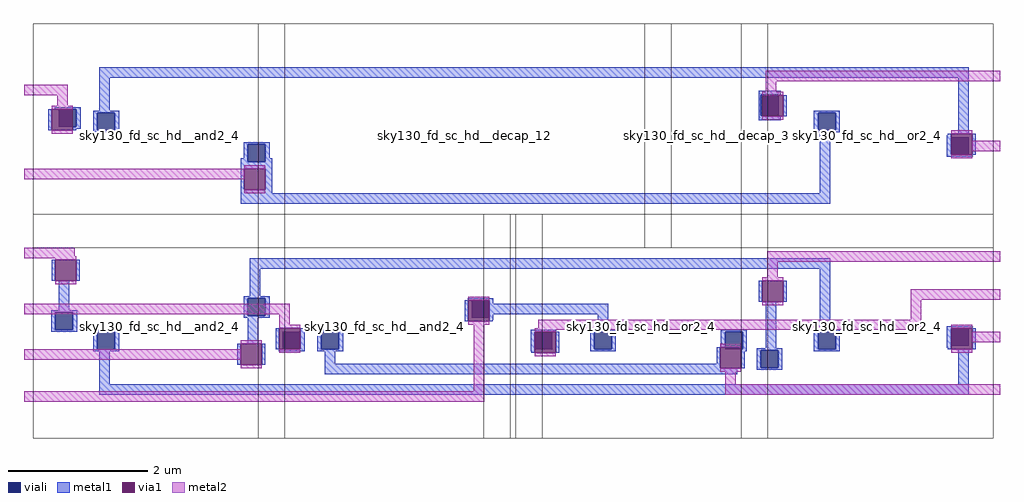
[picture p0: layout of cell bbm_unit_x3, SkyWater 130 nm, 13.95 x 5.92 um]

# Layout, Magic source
magic
tech sky130A
magscale 1 2
<< viali >>
rect -1400 870 -1350 920
rect -1290 860 -1240 910
rect 606 901 657 961
rect 770 860 820 910
rect -860 770 -810 820
rect 1150 790 1200 840
rect -1410 290 -1360 340
rect -860 330 -810 380
rect -220 324 -170 374
rect -1290 234 -1240 284
rect -760 234 -710 284
rect -650 234 -600 284
rect -40 234 10 284
rect 130 234 180 284
rect 504 234 554 284
rect 770 234 820 284
rect 1150 244 1200 294
rect 606 181 656 231
<< metal1 >>
rect -1285 1010 1200 1040
rect -1412 920 -1338 926
rect -1430 860 -1420 920
rect -1350 870 -1338 920
rect -1285 916 -1255 1010
rect 600 961 663 973
rect -1360 864 -1338 870
rect -1302 910 -1228 916
rect -1360 860 -1350 864
rect -1302 860 -1290 910
rect -1240 860 -1228 910
rect 600 901 606 961
rect 657 960 663 961
rect 600 900 610 901
rect 670 900 680 960
rect 758 910 832 916
rect 600 889 663 900
rect -1302 854 -1228 860
rect 758 860 770 910
rect 820 860 832 910
rect 758 854 832 860
rect -872 820 -798 826
rect -872 780 -860 820
rect -880 770 -860 780
rect -810 780 -798 820
rect -810 770 -790 780
rect -880 750 -790 770
rect -880 690 -870 750
rect -810 690 -790 750
rect -880 680 -790 690
rect 775 680 805 854
rect 1170 850 1200 1010
rect 1140 846 1150 850
rect 1138 790 1150 846
rect 1210 790 1220 850
rect 1138 784 1212 790
rect -880 650 805 680
rect -1420 430 -1410 490
rect -1350 430 -1340 490
rect -855 464 805 494
rect -1400 346 -1370 430
rect -855 386 -825 464
rect -872 380 -798 386
rect -1422 340 -1348 346
rect -1422 290 -1410 340
rect -1360 290 -1348 340
rect -872 330 -860 380
rect -810 330 -798 380
rect -232 374 -158 380
rect -872 324 -798 330
rect -1422 284 -1348 290
rect -1302 284 -1228 290
rect -1302 234 -1290 284
rect -1240 234 -1228 284
rect -860 250 -830 324
rect -240 314 -230 374
rect -170 364 -158 374
rect 600 370 610 430
rect 670 370 680 430
rect -170 334 170 364
rect -170 318 -158 334
rect -170 314 -160 318
rect -1302 228 -1228 234
rect -1285 134 -1255 228
rect -890 190 -880 250
rect -820 190 -810 250
rect -780 234 -770 294
rect -710 290 -700 294
rect 140 290 170 334
rect -710 234 -698 290
rect -772 228 -698 234
rect -662 284 -588 290
rect -662 234 -650 284
rect -600 234 -588 284
rect -662 228 -588 234
rect -52 284 22 290
rect 118 284 192 290
rect -52 228 -40 284
rect -640 192 -610 228
rect -50 224 -40 228
rect 20 224 30 284
rect 118 234 130 284
rect 180 234 192 284
rect 492 284 566 290
rect 492 240 504 284
rect 118 228 192 234
rect 480 192 490 240
rect 554 234 566 284
rect 620 237 650 370
rect 775 290 805 464
rect 1138 294 1212 300
rect 758 284 832 290
rect -640 180 490 192
rect 550 228 566 234
rect 594 231 668 237
rect 550 180 560 228
rect 594 181 606 231
rect 656 181 668 231
rect 758 234 770 284
rect 820 234 832 284
rect 1138 238 1150 294
rect 1140 234 1150 238
rect 1210 234 1220 294
rect 758 228 832 234
rect -640 162 539 180
rect 594 175 668 181
rect 1170 134 1200 234
rect -1285 104 1200 134
<< via1 >>
rect -1420 870 -1400 920
rect -1400 870 -1360 920
rect -1420 860 -1360 870
rect 610 901 657 960
rect 657 901 670 960
rect 610 900 670 901
rect -870 690 -810 750
rect 1150 840 1210 850
rect 1150 790 1200 840
rect 1200 790 1210 840
rect -1410 430 -1350 490
rect -230 324 -220 374
rect -220 324 -170 374
rect 610 370 670 430
rect -230 314 -170 324
rect -880 190 -820 250
rect -770 284 -710 294
rect -770 234 -760 284
rect -760 234 -710 284
rect -40 234 10 284
rect 10 234 20 284
rect -40 224 20 234
rect 490 234 504 240
rect 504 234 550 240
rect 490 180 550 234
rect 1150 244 1200 294
rect 1200 244 1210 294
rect 1150 234 1210 244
<< metal2 >>
rect 620 1000 1290 1030
rect -1500 960 -1375 990
rect 620 970 650 1000
rect -1405 930 -1375 960
rect 610 960 670 970
rect -1420 920 -1360 930
rect 610 890 670 900
rect -1420 850 -1360 860
rect 1150 850 1210 860
rect 1210 800 1290 830
rect 1150 780 1210 790
rect -870 750 -810 760
rect -1500 720 -870 750
rect -870 680 -810 690
rect -1500 500 -1355 524
rect -1500 494 -1350 500
rect -1410 490 -1350 494
rect 625 484 1290 514
rect 625 440 655 484
rect -1410 420 -1350 430
rect 610 430 670 440
rect -230 374 -170 384
rect -1500 334 -740 364
rect -770 304 -740 334
rect 610 360 670 370
rect 1035 375 1290 405
rect 1035 319 1065 375
rect -230 304 -170 314
rect -770 294 -710 304
rect -880 250 -820 260
rect -1500 204 -880 234
rect -770 224 -710 234
rect -880 180 -820 190
rect -215 114 -185 304
rect -30 294 1065 319
rect -40 289 1065 294
rect 1150 294 1210 304
rect -40 284 20 289
rect -40 214 20 224
rect 490 240 550 250
rect 1210 254 1290 284
rect 1150 224 1210 234
rect 490 170 550 180
rect -1500 84 -185 114
rect 505 134 535 170
rect 505 104 1290 134
use sky130_fd_sc_hd__and2_4  sky130_fd_sc_hd__and2_4_0 $PDKPATH/libs.ref/sky130_fd_sc_hd/mag
transform 1 0 -1436 0 1 28
box -38 -48 682 592
use sky130_fd_sc_hd__and2_4  sky130_fd_sc_hd__and2_4_1
transform 1 0 -792 0 1 28
box -38 -48 682 592
use sky130_fd_sc_hd__and2_4  sky130_fd_sc_hd__and2_4_2
transform 1 0 -1436 0 -1 1116
box -38 -48 682 592
use sky130_fd_sc_hd__decap_3  sky130_fd_sc_hd__decap_3_0 $PDKPATH/libs.ref/sky130_fd_sc_hd/mag
transform 1 0 312 0 -1 1116
box -38 -48 314 592
use sky130_fd_sc_hd__decap_12  sky130_fd_sc_hd__decap_12_0 $PDKPATH/libs.ref/sky130_fd_sc_hd/mag
transform 1 0 -792 0 -1 1116
box -38 -48 1142 592
use sky130_fd_sc_hd__or2_4  sky130_fd_sc_hd__or2_4_0 $PDKPATH/libs.ref/sky130_fd_sc_hd/mag
transform 1 0 588 0 1 28
box -38 -48 682 592
use sky130_fd_sc_hd__or2_4  sky130_fd_sc_hd__or2_4_1
transform 1 0 -56 0 1 28
box -38 -48 682 592
use sky130_fd_sc_hd__or2_4  sky130_fd_sc_hd__or2_4_2
transform 1 0 588 0 -1 1116
box -38 -48 682 592
use sky130_fd_sc_hd__tapvpwrvgnd_1  sky130_fd_sc_hd__tapvpwrvgnd_1_0 $PDKPATH/libs.ref/sky130_fd_sc_hd/mag
transform 1 0 -148 0 1 28
box -38 -48 130 592
<< end >>
